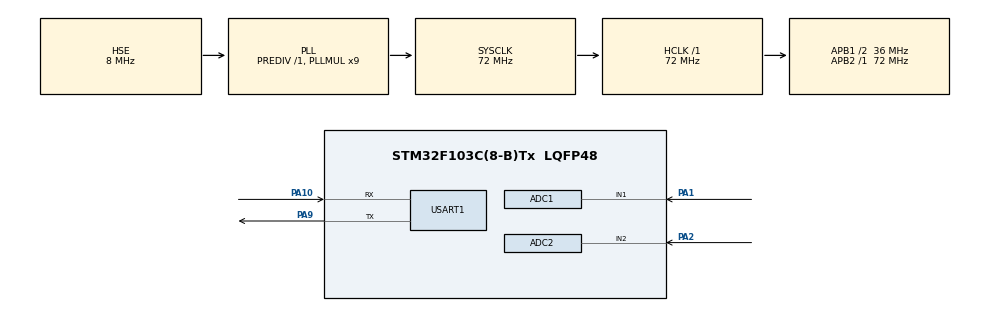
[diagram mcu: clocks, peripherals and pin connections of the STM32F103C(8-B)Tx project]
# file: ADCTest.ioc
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ADC1.Channel-5\#ChannelRegularConversion=ADC_CHANNEL_1
ADC1.ContinuousConvMode=DISABLE
ADC1.EnableInjectedConversion=ENABLE
ADC1.NbrOfConversion=1
ADC1.NbrOfConversionFlag=1
ADC1.Rank-5\#ChannelRegularConversion=1
ADC1.SamplingTime-5\#ChannelRegularConversion=ADC_SAMPLETIME_1CYCLE_5
ADC1.master=1
ADC2.Channel-0\#ChannelRegularConversion=ADC_CHANNEL_2
ADC2.ContinuousConvMode=DISABLE
ADC2.EnableInjectedConversion=ENABLE
ADC2.InjNumberOfConversion=0
ADC2.NbrOfConversion=1
ADC2.NbrOfConversionFlag=1
ADC2.Rank-0\#ChannelRegularConversion=1
ADC2.SamplingTime-0\#ChannelRegularConversion=ADC_SAMPLETIME_1CYCLE_5
Dma.ADC1.0.Direction=DMA_PERIPH_TO_MEMORY
Dma.ADC1.0.Instance=DMA1_Channel1
Dma.ADC1.0.MemDataAlignment=DMA_MDATAALIGN_HALFWORD
Dma.ADC1.0.MemInc=DMA_MINC_ENABLE
Dma.ADC1.0.Mode=DMA_CIRCULAR
Dma.ADC1.0.PeriphDataAlignment=DMA_PDATAALIGN_HALFWORD
Dma.ADC1.0.PeriphInc=DMA_PINC_DISABLE
Dma.ADC1.0.Priority=DMA_PRIORITY_LOW
Dma.Request0=ADC1
Mcu.Family=STM32F1
Mcu.Name=STM32F103C(8-B)Tx
Mcu.Package=LQFP48
NVIC.DMA1_Channel1_IRQn=true\:0\:0\:false\:false\:true\:false\:true\:true
NVIC.PriorityGroup=NVIC_PRIORITYGROUP_4
PA1.Signal=ADCx_IN1
PA10.Mode=Asynchronous
PA10.Signal=USART1_RX
PA13.Mode=Serial_Wire
PA13.Signal=SYS_JTMS-SWDIO
PA14.Mode=Serial_Wire
PA14.Signal=SYS_JTCK-SWCLK
PA2.Signal=ADCx_IN2
PA9.Mode=Asynchronous
PA9.Signal=USART1_TX
PD0-OSC_IN.Mode=HSE-External-Oscillator
PD0-OSC_IN.Signal=RCC_OSC_IN
PD1-OSC_OUT.Mode=HSE-External-Oscillator
PD1-OSC_OUT.Signal=RCC_OSC_OUT
ProjectManager.HeapSize=0x200
ProjectManager.StackSize=0x400
ProjectManager.TargetToolchain=MDK-ARM V5.32
RCC.ADCPresc=RCC_ADCPCLK2_DIV6
RCC.AHBFreq_Value=72000000
RCC.APB1CLKDivider=RCC_HCLK_DIV2
RCC.APB1Freq_Value=36000000
RCC.APB1TimFreq_Value=72000000
RCC.APB2Freq_Value=72000000
RCC.APB2TimFreq_Value=72000000
RCC.HCLKFreq_Value=72000000
RCC.PLLMUL=RCC_PLL_MUL9
RCC.PLLSourceVirtual=RCC_PLLSOURCE_HSE
RCC.SYSCLKFreq_VALUE=72000000
RCC.SYSCLKSource=RCC_SYSCLKSOURCE_PLLCLK
RCC.USBFreq_Value=72000000
SH.ADCx_IN1.0=ADC1_IN1,IN1
SH.ADCx_IN2.0=ADC2_IN2,IN2
USART1.VirtualMode=VM_ASYNC
board=custom

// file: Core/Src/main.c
/* USER CODE BEGIN Header */
/**
  ******************************************************************************
  * @file           : main.c
  * @brief          : Main program body
  ******************************************************************************
  * @attention
  *
  * Copyright (c) 2025 STMicroelectronics.
  * All rights reserved.
  *
  * This software is licensed under terms that can be found in the LICENSE file
  * in the root directory of this software component.
  * If no LICENSE file comes with this software, it is provided AS-IS.
  *
  ******************************************************************************
  */
/* USER CODE END Header */
#include "main.h"
#include "adc.h"
#include "dma.h"
#include "usart.h"
#include "gpio.h"

/* USER CODE BEGIN PV */
uint32_t ADC1Value[12] = {0};
uint16_t ADC2Value = 0;
uint8_t ADC1Transmit[4]={0};
uint8_t ADC2Transmit[4]={0};
uint8_t tADC1[6]="ADC1:",tADC2[6]="ADC2:";
/* USER CODE END PV */

void SystemClock_Config(void);

int main(void)
{

  /* MCU Configuration--------------------------------------------------------*/

  /* Reset of all peripherals, Initializes the Flash interface and the Systick. */
  HAL_Init();

  /* Configure the system clock */
  SystemClock_Config();

  /* Initialize all configured peripherals */
  MX_GPIO_Init();
  MX_DMA_Init();
  MX_ADC1_Init();
  MX_USART1_UART_Init();
  MX_ADC2_Init();
  /* USER CODE BEGIN 2 */
	HAL_ADCEx_Calibration_Start(&hadc1);
	HAL_ADCEx_Calibration_Start(&hadc2);
  /* USER CODE END 2 */

  /* Infinite loop */
  /* USER CODE BEGIN WHILE */
  while (1)
  {
			HAL_ADC_Start_DMA(&hadc1,ADC1Value,12);
			HAL_ADC_PollForConversion(&hadc1,250);
			HAL_ADC_Start(&hadc2);
			HAL_ADC_PollForConversion(&hadc2,50);
			if(HAL_IS_BIT_SET(HAL_ADC_GetState(&hadc2),HAL_ADC_STATE_REG_EOC))
			{
				ADC2Value = HAL_ADC_GetValue(&hadc2);
				float voltage = ADC2Value * 3.3f / 4096;
			}
			HAL_Delay(1000);
    /* USER CODE END WHILE */

  }
}

void SystemClock_Config(void)
{
  RCC_OscInitTypeDef RCC_OscInitStruct = {0};
  RCC_ClkInitTypeDef RCC_ClkInitStruct = {0};
  RCC_PeriphCLKInitTypeDef PeriphClkInit = {0};

  /** Initializes the RCC Oscillators according to the specified parameters
  * in the RCC_OscInitTypeDef structure.
  */
  RCC_OscInitStruct.OscillatorType = RCC_OSCILLATORTYPE_HSE;
  RCC_OscInitStruct.HSEState = RCC_HSE_ON;
  RCC_OscInitStruct.HSEPredivValue = RCC_HSE_PREDIV_DIV1;
  RCC_OscInitStruct.HSIState = RCC_HSI_ON;
  RCC_OscInitStruct.PLL.PLLState = RCC_PLL_ON;
  RCC_OscInitStruct.PLL.PLLSource = RCC_PLLSOURCE_HSE;
  RCC_OscInitStruct.PLL.PLLMUL = RCC_PLL_MUL9;
  if (HAL_RCC_OscConfig(&RCC_OscInitStruct) != HAL_OK)
  {
    Error_Handler();
  }

  /** Initializes the CPU, AHB and APB buses clocks
  */
  RCC_ClkInitStruct.ClockType = RCC_CLOCKTYPE_HCLK|RCC_CLOCKTYPE_SYSCLK
                              |RCC_CLOCKTYPE_PCLK1|RCC_CLOCKTYPE_PCLK2;
  RCC_ClkInitStruct.SYSCLKSource = RCC_SYSCLKSOURCE_PLLCLK;
  RCC_ClkInitStruct.AHBCLKDivider = RCC_SYSCLK_DIV1;
  RCC_ClkInitStruct.APB1CLKDivider = RCC_HCLK_DIV2;
  RCC_ClkInitStruct.APB2CLKDivider = RCC_HCLK_DIV1;

  if (HAL_RCC_ClockConfig(&RCC_ClkInitStruct, FLASH_LATENCY_2) != HAL_OK)
  {
    Error_Handler();
  }
  PeriphClkInit.PeriphClockSelection = RCC_PERIPHCLK_ADC;
  PeriphClkInit.AdcClockSelection = RCC_ADCPCLK2_DIV6;
  if (HAL_RCCEx_PeriphCLKConfig(&PeriphClkInit) != HAL_OK)
  {
    Error_Handler();
  }
}

void Error_Handler(void)
{
  __disable_irq();
  while (1)
  {
  }
}
